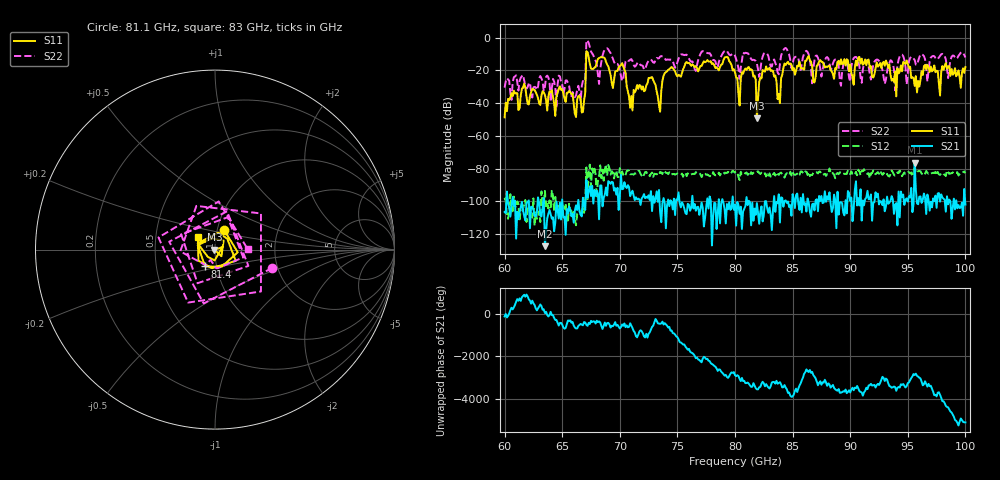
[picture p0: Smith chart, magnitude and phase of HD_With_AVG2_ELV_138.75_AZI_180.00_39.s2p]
! 11/25/2026 10:29:38 AM
! C:\ANRITSUVNA\TEMP\TEMP.S2P
! CHANNEL.1
! TR.MEASUREMENT
! RAW.DATA
# HZ S RI R 50.0
! FREQ.HZ  S11RE  S11IM  S21RE  S21IM  S12RE  S12IM  S22RE  S22IM
!; PortSelection: Port_12
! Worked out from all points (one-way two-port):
!   401 points, 60 GHz to 100 GHz, reference 50 ohm
!   highest |S21| = -76.43 dB at 95.6 GHz (marker M1); lowest = -127.4 dB at 63.5 GHz (marker M2)
!   lowest |S11| = -49.3 dB at 81.9 GHz (marker M3), VSWR 1.01, Z = 49.7 - j0.0327 ohm
!   |S11| at or under -10 dB: start of sweep to 67.09 GHz; 67.23 GHz to end of sweep
!   |S22| runs from -42.9 to -1.7 dB; largest |S21 - S12| = 0.00016
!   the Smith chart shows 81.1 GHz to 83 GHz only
!   S11 on the Smith chart (normalised r, x): 81.1 GHz: 1.08, +0.24; 81.4 GHz: 0.88, -0.17; 83 GHz: 0.82, +0.12
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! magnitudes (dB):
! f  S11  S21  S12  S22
! 60 GHz  -48.7  -106.5  -97.8  -30.5
! 61.6 GHz  -30.6  -105.4  -104.4  -22.8
! 63.5 GHz  -35.0  -127.4  -93.7  -30.1
! 66.7 GHz  -45.7  -109.3  -105.3  -29.5
! 67.3 GHz  -12.1  -93.4  -80.8  -3.1
! 68.4 GHz  -11.8  -90.4  -85.9  -14.7
! 70.3 GHz  -17.5  -92.3  -84.0  -25.5
! 70.9 GHz  -42.8  -96.9  -83.5  -13.5
! 72.7 GHz  -24.4  -93.8  -83.3  -13.3
! 73.4 GHz  -41.3  -93.1  -84.0  -12.6
! 74.4 GHz  -18.6  -99.4  -83.6  -13.4
! 80 GHz  -21.2  -102.1  -82.5  -11.0
! 81.1 GHz  -18.4  -102.4  -83.9  -9.5
! 81.4 GHz  -19.3  -114.7  -82.2  -13.0
! 81.9 GHz  -49.3  -101.1  -82.0  -15.7
! 83 GHz  -18.4  -103.8  -82.9  -14.8
! 83.8 GHz  -34.4  -95.8  -83.9  -22.3
! 84.5 GHz  -15.5  -101.0  -82.8  -7.0
! 86.7 GHz  -17.6  -101.9  -84.0  -27.9
! 93.4 GHz  -16.4  -100.8  -84.9  -15.6
! 95.6 GHz  -29.5  -76.4  -77.6  -13.7
! 100 GHz  -17.9  -102.0  -82.8  -12.1
